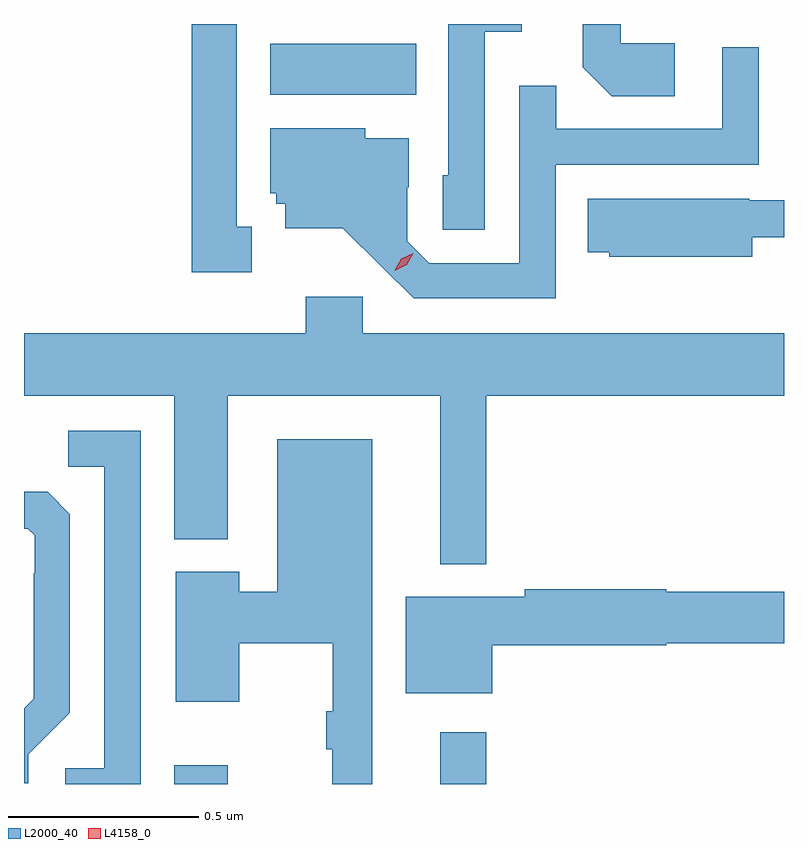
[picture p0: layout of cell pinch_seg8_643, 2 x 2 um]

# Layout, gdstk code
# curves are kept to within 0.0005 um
import gdstk
lib = gdstk.Library(unit=1e-6, precision=1e-09)
def R(c, l, rs):  # rectangles x0, y0, x1, y1
    for r in rs: c.add(gdstk.rectangle(r[:2], r[2:], *l))
def P(c, l, *ps):  # polygons
    for p in ps: c.add(gdstk.Polygon(p, *l))
L2000_40 = (2000, 40)
L4158_0 = (4158, 0)

pinch_seg8_643 = lib.new_cell('pinch_seg8_643')
R(pinch_seg8_643, L2000_40, [(197.948,1086.174,198.088,1086.223), (198.647,1086.174,198.769,1086.31), (198.2,1087.988,198.584,1088.122)])
P(pinch_seg8_643, L2000_40, [(199.264,1088.124),(199.122,1088.124),(199.122,1088.174),(199.023,1088.174),(199.023,1088.06),(199.099,1087.984),(199.264,1087.984)],
  [(198.151,1087.641),(198.112,1087.641),(198.112,1088.174),(197.994,1088.174),(197.994,1087.521),(198.151,1087.521)],
  [(198.765,1088.153),(198.862,1088.153),(198.862,1088.174),(198.669,1088.174),(198.669,1087.776),(198.654,1087.776),(198.654,1087.633),(198.765,1087.633)],
  [(198.951,1087.803),(199.485,1087.803),(199.485,1088.113),(199.389,1088.113),(199.389,1087.899),(198.953,1087.899),(198.953,1088.012),(198.855,1088.012),(198.855,1087.545),(198.618,1087.545),(198.561,1087.602),(198.561,1087.744),(198.565,1087.744),(198.565,1087.873),(198.45,1087.873),(198.45,1087.9),(198.2,1087.9),(198.2,1087.728),(198.216,1087.728),(198.216,1087.701),(198.239,1087.701),(198.239,1087.637),(198.391,1087.637),(198.578,1087.452),(198.951,1087.452)],
  [(199.468,1087.613),(199.552,1087.613),(199.552,1087.71),(199.46,1087.71),(199.46,1087.714),(199.036,1087.714),(199.036,1087.574),(199.092,1087.574),(199.092,1087.562),(199.468,1087.562)],
  [(198.769,1087.196),(199.552,1087.196),(199.552,1087.36),(198.444,1087.36),(198.444,1087.456),(198.293,1087.456),(198.293,1087.36),(197.552,1087.36),(197.552,1087.196),(197.948,1087.196),(197.948,1086.818),(198.088,1086.818),(198.088,1087.196),(198.647,1087.196),(198.647,1086.752),(198.769,1086.752)],
  [(197.859,1087.104),(197.668,1087.104),(197.668,1087.009),(197.763,1087.009),(197.763,1086.216),(197.661,1086.216),(197.661,1086.174),(197.859,1086.174)],
  [(198.469,1087.081),(198.218,1087.081),(198.218,1086.68),(198.118,1086.68),(198.118,1086.733),(197.951,1086.733),(197.951,1086.39),(198.118,1086.39),(198.118,1086.544),(198.365,1086.544),(198.365,1086.366),(198.348,1086.366),(198.348,1086.265),(198.363,1086.265),(198.363,1086.174),(198.469,1086.174)],
  [(197.563,1086.252),(197.673,1086.362),(197.673,1086.884),(197.614,1086.943),(197.552,1086.943),(197.552,1086.846),(197.562,1086.846),(197.58,1086.828),(197.58,1086.728),(197.577,1086.728),(197.577,1086.399),(197.552,1086.374),(197.552,1086.176),(197.563,1086.176)],
  [(198.784,1086.539),(199.242,1086.539),(199.242,1086.544),(199.552,1086.544),(199.552,1086.68),(199.242,1086.68),(199.242,1086.686),(198.87,1086.686),(198.87,1086.667),(198.557,1086.667),(198.557,1086.413),(198.784,1086.413)])
P(pinch_seg8_643, L4158_0, [(198.528,1087.525),(198.528,1087.526),(198.545,1087.556),(198.576,1087.571),(198.576,1087.571),(198.576,1087.571),(198.559,1087.541),(198.528,1087.525)])

lib.write_gds('pinch_seg8_643.gds')
